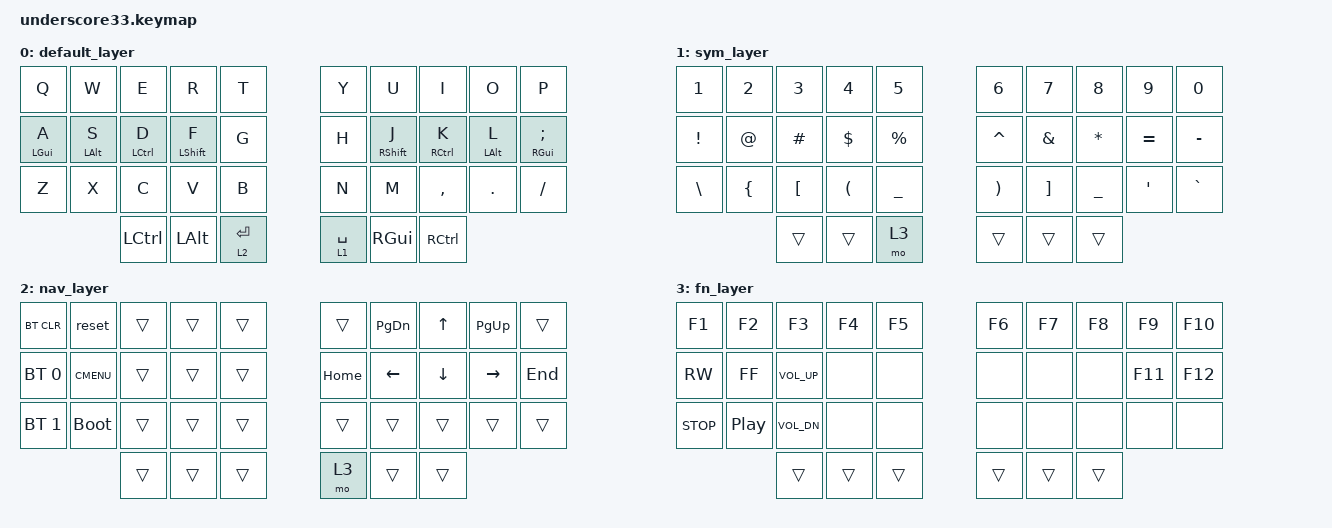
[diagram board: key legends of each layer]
/*
 * Copyright (c) 2020 The ZMK Contributors
 *
 * SPDX-License-Identifier: MIT
 */

// This key-map file WILL NOT WORK FOR YOU, you will need to modify it. I really do not recommend adapting to it.
// This key-map file is set-up to be the split space layout.
// I strongly urge you to customise your firmware to suit your usage.
// Please feel free to join the ZMK server at https://discord.gg/TdRMQaTYdF for help.

#include <behaviors.dtsi>
#include <dt-bindings/zmk/keys.h>
#include <dt-bindings/zmk/bt.h>

/ {
    behaviors {
        hm: homerow_mods {
            compatible = "zmk,behavior-hold-tap";
            label = "HOMEROW_MODS";
            #binding-cells = <2>;
            tapping_term_ms = <250>;
            flavor = "tap-preferred";
            bindings = <&kp>, <&kp>;
        };

        combos {
            compatible = "zmk,combos";
            combo_del {
                timeout-ms = <50>;
                key-positions = <18 19>;
                bindings = <&kp DEL>;
                layers = <1>;
            };
            combo_bspc {
                timeout-ms = <50>;
                key-positions = <8 9>;
                bindings = <&kp BKSP>;
                layers = <0 1>;
            };
            combo_tab {
                timeout-ms = <50>;
                key-positions = <0 1>;
                bindings = <&kp TAB>;
                layers = <0>;

            };
            combo_esc {
                timeout-ms = <50>;
                key-positions = <1 2>;
                bindings = <&kp ESC>;
                layers = <0>;

            };
        };
    };
    keymap {
        compatible = "zmk,keymap";

        default_layer {
// -----------------------------------------------------------------------------------------
// |  Q  |  W  |  E  |  R  |  T  |  Y  |  U  |  I  |  O  |  P  |
// |  A  |  S  |  D  |  F  |  G  |  H  |  J  |  K  |  L  |  ;  |
// |  Z  |  X  |  C  |  V  |  B  |  N  |  M  |  ,  |  .  |  /  |
//             | CTL | ALT | ENT | SPC | GUI | CTL |
            bindings = <
   &kp Q      &kp W      &kp E       &kp R       &kp T     &kp Y     &kp U       &kp I       &kp O      &kp P
   &hm LGUI A &hm LALT S &hm LCTRL D &hm LSHFT F &kp G     &kp H     &hm RSHFT J &hm RCTRL K &hm LALT L &hm RGUI SEMI
   &kp Z      &kp X      &kp C       &kp V       &kp B     &kp N     &kp M       &kp COMMA   &kp DOT    &kp FSLH
                         &kp LCTRL   &kp LALT    &lt 2 RET &lt 1 SPC &kp RGUI    &kp RCTRL
                        >;
        };

        sym_layer {
// -----------------------------------------------------------------------------------------
// |  1  |  2  |  3  |  4  |  5  |  6  |  7  |  8  |  9  |  0  |
// |  !  |  @  |  #  |  $  |  %  |  ^  |  &  |  *  |  =  |  -  |
// |  \  |  {  |  [  |  (  |  _  |  )  |  ]  |  }  |  '  |  `  |
//             | CTL | ALT | ENT | SPC | GUI | CTL |
            bindings = <
   &kp N1   &kp N2   &kp N3   &kp N4     &kp N5    &kp N6    &kp N7    &kp N8    &kp N9    &kp N0
   &kp EXCL &kp AT   &kp HASH &kp DOLLAR &kp PRCNT &kp CARET &kp AMPS  &kp STAR  &kp EQUAL &kp MINUS
   &kp BSLH &kp LBRC &kp LBKT &kp LPAR   &kp UNDER &kp RPAR  &kp RBKT  &kp UNDER &kp APOS  &kp GRAVE
                     &trans   &trans     &mo 3     &trans    &trans    &trans
                        >;
        };

        nav_layer {
// -----------------------------------------------------------------------------------------
// |BTCLR| RST |     |     |     |     | PGDN | UP  |PGUP |     |
// | BT0 |CMENU|     |     |     |HOME | LEFT |DOWN |RIGHT| END |
// | BT1 |BOOT |     |     |     |     |      |     |     |     |
//             | CTL | ALT | ENT | SPC | GUI  | CTL |
            bindings = <
   &bt BT_CLR   &reset      &trans &trans &trans &trans   &kp PG_DN &kp UP   &kp PG_UP &trans
   &bt BT_SEL 0 &kp K_CMENU &trans &trans &trans &kp HOME &kp LEFT  &kp DOWN &kp RIGHT &kp END
   &bt BT_SEL 1 &bootloader &trans &trans &trans &trans   &trans    &trans   &trans    &trans
                            &trans &trans &trans &mo 3    &trans    &trans
                        >;
        };

        fn_layer {
// -----------------------------------------------------------------------------------------
// | F1  | F2  | F3  | F4  | F5  | F6  | F7  | F8  | F9  | F10 |
// | RWD | FFD | VOL+|     |     |     |     |     | F11 | F12 |
// | STP | PP  | VOL-|     |     |     |     |     |     |     |
//             | CTL | ALT | ENT | SPC | GUI | CTL |
            bindings = <
   &kp F1     &kp F2   &kp F3       &kp F4 &kp F5 &kp F6 &kp F7 &kp F8 &kp F9  &kp F10
   &kp C_RW   &kp C_FF &kp C_VOL_UP &none  &none  &none  &none  &none  &kp F11 &kp F12
   &kp C_STOP &kp C_PP &kp C_VOL_DN &none  &none  &none  &none  &none  &none   &none
                       &trans       &trans &trans &trans &trans &trans
                        >;
        };
    };
};
